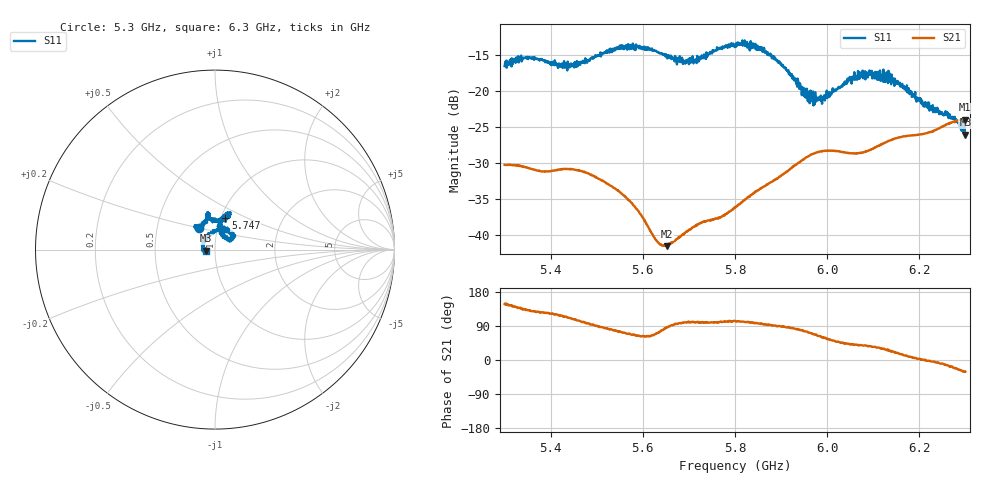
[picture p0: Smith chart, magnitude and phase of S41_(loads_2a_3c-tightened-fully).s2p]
! NanoVNA-App
! Date: 2026-11-04 22:42:25
! Start: 5,3GHz Stop: 6,3GHz Points: 1001
! S-Parameter data: F S11 S21 S12 S22
# Hz S RI R 50
!  Frequency  S11_Real  S11_Imag  S21_Real  S21_Imag  S12_Real  S12_Imag  S22_Real  S22_Imag
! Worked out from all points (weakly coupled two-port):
!   1001 points, 5.3 GHz to 6.3 GHz, reference 50 ohm
!   highest |S21| = -23.97 dB at 6.299 GHz (marker M1); lowest = -41.5 dB at 5.652 GHz (marker M2)
!   lowest |S11| = -26.1 dB at 6.3 GHz (marker M3), VSWR 1.10, Z = 45.3 - j0.601 ohm
!   |S11| at or under -10 dB: start of sweep to end of sweep
!   S12 and S22 are empty: the file has one direction only
!   S11 on the Smith chart (normalised r, x): 5.3 GHz: 0.81, +0.20; 5.747 GHz: 1.05, +0.38; 6.3 GHz: 0.91, -0.01
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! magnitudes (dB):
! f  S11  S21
! 5.3 GHz  -16.5  -30.2
! 5.345 GHz  -15.4  -30.5
! 5.385 GHz  -15.8  -31.1
! 5.431 GHz  -16.8  -30.8
! 5.467 GHz  -16.1  -31.1
! 5.562 GHz  -14.0  -34.7
! 5.592 GHz  -14.1  -36.8
! 5.634 GHz  -14.6  -41.0
! 5.652 GHz  -15.1  -41.5
! 5.692 GHz  -16.2  -39.6
! 5.747 GHz  -14.7  -37.8
! 5.8 GHz  -13.7  -36.1
! 5.864 GHz  -14.4  -33.2
! 5.901 GHz  -16.4  -31.7
! 5.967 GHz  -21.2  -28.8
! 5.992 GHz  -21.2  -28.3
! 6.072 GHz  -17.5  -28.5
! 6.134 GHz  -18.8  -26.9
! 6.222 GHz  -22.7  -25.7
! 6.278 GHz  -24.2  -24.2
! 6.299 GHz  -25.9  -24.0
! 6.3 GHz  -26.1  -24.0
